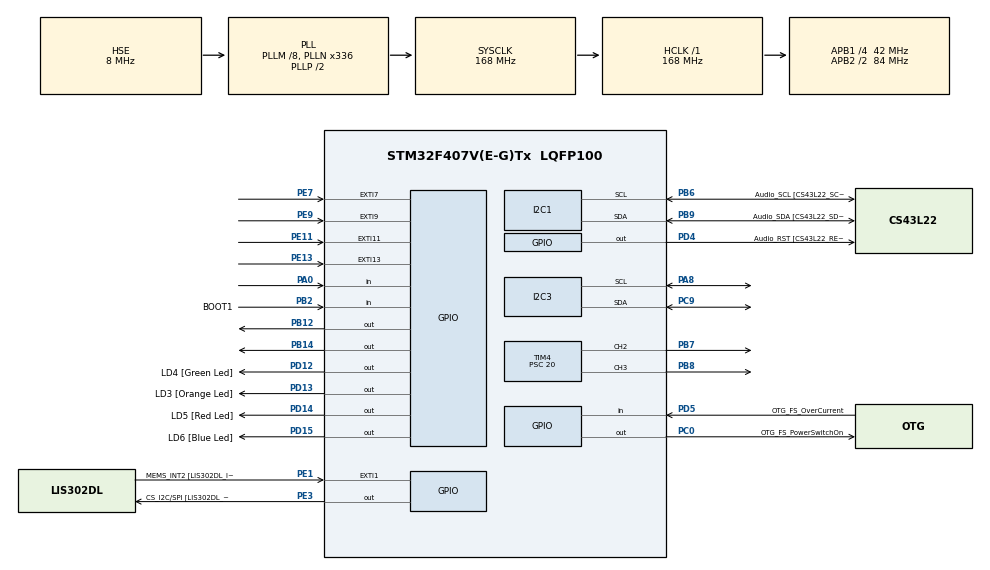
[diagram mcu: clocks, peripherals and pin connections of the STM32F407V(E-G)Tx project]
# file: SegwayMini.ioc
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Dma.I2C1_RX.0.Channel=DMA_CHANNEL_1
Dma.I2C1_RX.0.Direction=DMA_PERIPH_TO_MEMORY
Dma.I2C1_RX.0.FIFOMode=DMA_FIFOMODE_DISABLE
Dma.I2C1_RX.0.Instance=DMA1_Stream0
Dma.I2C1_RX.0.MemDataAlignment=DMA_MDATAALIGN_BYTE
Dma.I2C1_RX.0.MemInc=DMA_MINC_ENABLE
Dma.I2C1_RX.0.Mode=DMA_NORMAL
Dma.I2C1_RX.0.PeriphDataAlignment=DMA_PDATAALIGN_BYTE
Dma.I2C1_RX.0.PeriphInc=DMA_PINC_DISABLE
Dma.I2C1_RX.0.Priority=DMA_PRIORITY_LOW
Dma.I2C1_TX.1.Channel=DMA_CHANNEL_1
Dma.I2C1_TX.1.Direction=DMA_MEMORY_TO_PERIPH
Dma.I2C1_TX.1.FIFOMode=DMA_FIFOMODE_DISABLE
Dma.I2C1_TX.1.Instance=DMA1_Stream6
Dma.I2C1_TX.1.MemDataAlignment=DMA_MDATAALIGN_BYTE
Dma.I2C1_TX.1.MemInc=DMA_MINC_ENABLE
Dma.I2C1_TX.1.Mode=DMA_NORMAL
Dma.I2C1_TX.1.PeriphDataAlignment=DMA_PDATAALIGN_BYTE
Dma.I2C1_TX.1.PeriphInc=DMA_PINC_DISABLE
Dma.I2C1_TX.1.Priority=DMA_PRIORITY_LOW
Dma.Request0=I2C1_RX
Dma.Request1=I2C1_TX
FREERTOS.Tasks01=defaultTask,0,128,StartDefaultTask;control,2,512,controlTask;sensorFilter,-3,512,sensorFilterTask
I2C1.I2C_Mode=I2C_Fast
Mcu.Family=STM32F4
Mcu.Name=STM32F407V(E-G)Tx
Mcu.Package=LQFP100
NVIC.DMA1_Stream0_IRQn=true\:5\:0\:false
NVIC.DMA1_Stream6_IRQn=true\:5\:0\:false
NVIC.EXTI15_10_IRQn=true\:5\:0\:false
NVIC.EXTI9_5_IRQn=true\:5\:0\:false
NVIC.PriorityGroup=NVIC_PRIORITYGROUP_4
NVIC.TIM4_IRQn=true\:5\:0\:false
PA0-WKUP.Signal=GPIO_Input
PA10.GPIO_Label=OTG_FS_ID
PA10.GPIO_Mode=GPIO_MODE_AF_PP
PA10.GPIO_PuPd=GPIO_NOPULL
PA10.GPIO_Speed=GPIO_SPEED_LOW
PA10.Signal=USB_OTG_FS_ID
PA11.GPIO_Label=OTG_FS_DM
PA11.GPIO_Mode=GPIO_MODE_AF_PP
PA11.GPIO_PuPd=GPIO_NOPULL
PA11.GPIO_Speed=GPIO_SPEED_LOW
PA11.Signal=USB_OTG_FS_DM
PA12.GPIO_Label=OTG_FS_DP
PA12.GPIO_Mode=GPIO_MODE_AF_PP
PA12.GPIO_PuPd=GPIO_NOPULL
PA12.GPIO_Speed=GPIO_SPEED_LOW
PA12.Signal=USB_OTG_FS_DP
PA13.GPIO_Label=SWDIO
PA13.Mode=Trace-Asynchronous_SW
PA13.Signal=SYS_JTMS-SWDIO
PA14.GPIO_Label=SWCLK
PA14.Mode=Trace-Asynchronous_SW
PA14.Signal=SYS_JTCK-SWCLK
PA4.GPIO_Label=I2S3_WS [CS43L22_LRCK]
PA4.GPIO_Mode=GPIO_MODE_AF_PP
PA4.GPIO_PuPd=GPIO_NOPULL
PA4.GPIO_Speed=GPIO_SPEED_LOW
PA4.Signal=I2S3_WS
PA5.GPIO_Label=SPI1_SCK [LIS302DL_SCL/SPC]
PA5.GPIO_Mode=GPIO_MODE_AF_PP
PA5.GPIO_PuPd=GPIO_NOPULL
PA5.GPIO_Speed=GPIO_SPEED_LOW
PA5.Signal=SPI1_SCK
PA6.GPIO_Label=SPI1_MISO [LIS302DL_SDO]
PA6.GPIO_Mode=GPIO_MODE_AF_PP
PA6.GPIO_PuPd=GPIO_NOPULL
PA6.GPIO_Speed=GPIO_SPEED_LOW
PA6.Signal=SPI1_MISO
PA7.GPIO_Label=SPI1_MOSI [LIS302DL_SDA/SDI/SDO]
PA7.GPIO_Mode=GPIO_MODE_AF_PP
PA7.GPIO_PuPd=GPIO_NOPULL
PA7.GPIO_Speed=GPIO_SPEED_LOW
PA7.Signal=SPI1_MOSI
PA8.Mode=I2C
PA8.Signal=I2C3_SCL
PA9.GPIO_Label=VBUS_FS
PA9.GPIO_Mode=GPIO_MODE_INPUT
PA9.GPIO_PuPd=GPIO_NOPULL
PA9.Signal=USB_OTG_FS_VBUS
PB10.GPIO_Label=CLK_IN [MP45DT02_CLK]
PB10.GPIO_Mode=GPIO_MODE_AF_PP
PB10.GPIO_PuPd=GPIO_NOPULL
PB10.GPIO_Speed=GPIO_SPEED_LOW
PB10.Signal=I2S2_CK
PB12.Signal=GPIO_Output
PB14.Signal=GPIO_Output
PB2.GPIO_Label=BOOT1
PB2.GPIO_Mode=GPIO_MODE_INPUT
PB2.GPIO_PuPd=GPIO_NOPULL
PB2.Signal=GPIO_Input
PB3.GPIO_Label=SWO
PB3.Mode=Trace-Asynchronous_SW
PB3.Signal=SYS_JTDO-SWO
PB6.GPIO_Label=Audio_SCL [CS43L22_SCL]
PB6.GPIO_Mode=GPIO_MODE_AF_OD
PB6.GPIO_PuPd=GPIO_NOPULL
PB6.GPIO_Speed=GPIO_SPEED_LOW
PB6.Mode=I2C
PB6.Signal=I2C1_SCL
PB7.Signal=S_TIM4_CH2
PB8.Signal=S_TIM4_CH3
PB9.GPIO_Label=Audio_SDA [CS43L22_SDA]
PB9.GPIO_Mode=GPIO_MODE_AF_OD
PB9.GPIO_PuPd=GPIO_NOPULL
PB9.GPIO_Speed=GPIO_SPEED_LOW
PB9.Mode=I2C
PB9.Signal=I2C1_SDA
PC0.GPIO_Label=OTG_FS_PowerSwitchOn
PC0.GPIO_PuPd=GPIO_NOPULL
PC0.GPIO_Speed=GPIO_SPEED_LOW
PC0.Signal=GPIO_Output
PC10.GPIO_Label=I2S3_SCK [CS43L22_SCLK]
PC10.GPIO_Mode=GPIO_MODE_AF_PP
PC10.GPIO_PuPd=GPIO_NOPULL
PC10.GPIO_Speed=GPIO_SPEED_LOW
PC10.Signal=I2S3_CK
PC12.GPIO_Label=I2S3_SD [CS43L22_SDIN]
PC12.GPIO_Mode=GPIO_MODE_AF_PP
PC12.GPIO_PuPd=GPIO_NOPULL
PC12.GPIO_Speed=GPIO_SPEED_LOW
PC12.Signal=I2S3_SD
PC14-OSC32_IN.GPIO_Label=PC14-OSC32_IN
PC14-OSC32_IN.Signal=RCC_OSC32_IN
PC15-OSC32_OUT.GPIO_Label=PC15-OSC32_OUT
PC15-OSC32_OUT.Signal=RCC_OSC32_OUT
PC3.GPIO_Label=PDM_OUT [MP45DT02_DOUT]
PC3.GPIO_Mode=GPIO_MODE_AF_PP
PC3.GPIO_PuPd=GPIO_NOPULL
PC3.GPIO_Speed=GPIO_SPEED_LOW
PC3.Signal=I2S2_SD
PC7.GPIO_Label=I2S3_MCK [CS43L22_MCLK]
PC7.GPIO_Mode=GPIO_MODE_AF_PP
PC7.GPIO_PuPd=GPIO_NOPULL
PC7.GPIO_Speed=GPIO_SPEED_LOW
PC7.Signal=I2S3_MCK
PC9.Mode=I2C
PC9.Signal=I2C3_SDA
PD12.GPIO_Label=LD4 [Green Led]
PD12.GPIO_PuPd=GPIO_NOPULL
PD12.GPIO_Speed=GPIO_SPEED_LOW
PD12.Signal=GPIO_Output
PD13.GPIO_Label=LD3 [Orange Led]
PD13.GPIO_PuPd=GPIO_NOPULL
PD13.GPIO_Speed=GPIO_SPEED_LOW
PD13.Signal=GPIO_Output
PD14.GPIO_Label=LD5 [Red Led]
PD14.GPIO_PuPd=GPIO_NOPULL
PD14.GPIO_Speed=GPIO_SPEED_LOW
PD14.Signal=GPIO_Output
PD15.GPIO_Label=LD6 [Blue Led]
PD15.GPIO_PuPd=GPIO_NOPULL
PD15.GPIO_Speed=GPIO_SPEED_LOW
PD15.Signal=GPIO_Output
PD4.GPIO_Label=Audio_RST [CS43L22_RESET]
PD4.GPIO_PuPd=GPIO_NOPULL
PD4.GPIO_Speed=GPIO_SPEED_LOW
PD4.Signal=GPIO_Output
PD5.GPIO_Label=OTG_FS_OverCurrent
PD5.GPIO_Mode=GPIO_MODE_INPUT
PD5.GPIO_PuPd=GPIO_NOPULL
PD5.Signal=GPIO_Input
PE1.GPIO_Label=MEMS_INT2 [LIS302DL_INT2]
PE1.GPIO_ModeDefaultEXTI=GPIO_MODE_EVT_RISING
PE1.GPIO_PuPd=GPIO_NOPULL
PE1.Signal=GPXTI1
PE11.GPIO_ModeDefaultEXTI=GPIO_MODE_IT_RISING_FALLING
PE11.GPIO_PuPd=GPIO_NOPULL
PE11.Signal=GPXTI11
PE13.GPIO_ModeDefaultEXTI=GPIO_MODE_IT_RISING_FALLING
PE13.GPIO_PuPd=GPIO_NOPULL
PE13.Signal=GPXTI13
PE3.GPIO_Label=CS_I2C/SPI [LIS302DL_CS_I2C/SPI]
PE3.GPIO_PuPd=GPIO_NOPULL
PE3.GPIO_Speed=GPIO_SPEED_LOW
PE3.Signal=GPIO_Output
PE7.GPIO_ModeDefaultEXTI=GPIO_MODE_IT_RISING_FALLING
PE7.GPIO_PuPd=GPIO_NOPULL
PE7.Signal=GPXTI7
PE9.GPIO_ModeDefaultEXTI=GPIO_MODE_IT_RISING_FALLING
PE9.GPIO_PuPd=GPIO_NOPULL
PE9.Signal=GPXTI9
PH0-OSC_IN.GPIO_Label=PH0-OSC_IN
PH0-OSC_IN.Mode=HSE-External-Oscillator
PH0-OSC_IN.Signal=RCC_OSC_IN
PH1-OSC_OUT.GPIO_Label=PH1-OSC_OUT
PH1-OSC_OUT.Mode=HSE-External-Oscillator
PH1-OSC_OUT.Signal=RCC_OSC_OUT
ProjectManager.TargetToolchain=EWARM
RCC.AHBFreq_Value=168000000
RCC.APB1CLKDivider=RCC_HCLK_DIV4
RCC.APB1Freq_Value=42000000
RCC.APB1TimFreq_Value=84000000
RCC.APB2CLKDivider=RCC_HCLK_DIV2
RCC.APB2Freq_Value=84000000
RCC.APB2TimFreq_Value=168000000
RCC.CortexFreq_Value=168000000
RCC.HCLKFreq_Value=168000000
RCC.HSE_VALUE=8000000
RCC.HSI_VALUE=16000000
RCC.LSE_VALUE=32768
RCC.PLLM=8
RCC.PLLN=336
RCC.PLLQ=7
RCC.PLLSourceVirtual=RCC_PLLSOURCE_HSE
RCC.SYSCLKFreq_VALUE=168000000
RCC.SYSCLKSource=RCC_SYSCLKSOURCE_PLLCLK
RCC.VCOOutputFreq_Value=336000000
SH.S_TIM4_CH2.0=TIM4_CH2,PWM Generation2 CH2
SH.S_TIM4_CH3.0=TIM4_CH3,PWM Generation3 CH3
TIM4.Channel-PWM\ Generation2\ CH2=TIM_CHANNEL_2
TIM4.Channel-PWM\ Generation3\ CH3=TIM_CHANNEL_3
TIM4.Period=399
TIM4.Prescaler=20
VP_FREERTOS_VS_ENABLE.Mode=Enabled
VP_TIM4_VS_ClockSourceINT.Mode=Internal
board=STM32F4DISCOVERY

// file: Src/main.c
/**
  ******************************************************************************
  * File Name          : main.c
  * Description        : Main program body
  ******************************************************************************
  *
  * COPYRIGHT(c) 2016 STMicroelectronics
  *
  * Redistribution and use in source and binary forms, with or without modification,
  * are permitted provided that the following conditions are met:
  *   1. Redistributions of source code must retain the above copyright notice,
  *      this list of conditions and the following disclaimer.
  *   2. Redistributions in binary form must reproduce the above copyright notice,
  *      this list of conditions and the following disclaimer in the documentation
  *      and/or other materials provided with the distribution.
  *   3. Neither the name of STMicroelectronics nor the names of its contributors
  *      may be used to endorse or promote products derived from this software
  *      without specific prior written permission.
  *
  * THIS SOFTWARE IS PROVIDED BY THE COPYRIGHT HOLDERS AND CONTRIBUTORS "AS IS"
  * AND ANY EXPRESS OR IMPLIED WARRANTIES, INCLUDING, BUT NOT LIMITED TO, THE
  * IMPLIED WARRANTIES OF MERCHANTABILITY AND FITNESS FOR A PARTICULAR PURPOSE ARE
  * DISCLAIMED. IN NO EVENT SHALL THE COPYRIGHT HOLDER OR CONTRIBUTORS BE LIABLE
  * FOR ANY DIRECT, INDIRECT, INCIDENTAL, SPECIAL, EXEMPLARY, OR CONSEQUENTIAL
  * DAMAGES (INCLUDING, BUT NOT LIMITED TO, PROCUREMENT OF SUBSTITUTE GOODS OR
  * SERVICES; LOSS OF USE, DATA, OR PROFITS; OR BUSINESS INTERRUPTION) HOWEVER
  * CAUSED AND ON ANY THEORY OF LIABILITY, WHETHER IN CONTRACT, STRICT LIABILITY,
  * OR TORT (INCLUDING NEGLIGENCE OR OTHERWISE) ARISING IN ANY WAY OUT OF THE USE
  * OF THIS SOFTWARE, EVEN IF ADVISED OF THE POSSIBILITY OF SUCH DAMAGE.
  *
  ******************************************************************************
  */
#include "stm32f4xx_hal.h"
#include "cmsis_os.h"

/* USER CODE BEGIN Includes */
#include "MadgwickAHRS.h"
#include "variable.h"
#include "encoder.h"
#include "motor.h"
#include "segway.h"
/* USER CODE END Includes */

I2C_HandleTypeDef hi2c1;
I2C_HandleTypeDef hi2c3;
DMA_HandleTypeDef hdma_i2c1_rx;
DMA_HandleTypeDef hdma_i2c1_tx;

TIM_HandleTypeDef htim4;

osThreadId defaultTaskHandle;
osThreadId controlHandle;
osThreadId sensorFilterHandle;

/* USER CODE BEGIN PV */
/* Private variables ---------------------------------------------------------*/

/* USER CODE END PV */

void SystemClock_Config(void);
static void MX_GPIO_Init(void);
static void MX_DMA_Init(void);
static void MX_I2C1_Init(void);
static void MX_I2C3_Init(void);
static void MX_TIM4_Init(void);
void StartDefaultTask(void const * argument);
void controlTask(void const * argument);
void sensorFilterTask(void const * argument);

/* USER CODE BEGIN PFP */
/* Private function prototypes -----------------------------------------------*/

/* USER CODE END PFP */

int main(void)
{

  /* MCU Configuration----------------------------------------------------------*/

  /* Reset of all peripherals, Initializes the Flash interface and the Systick. */
  HAL_Init();

  /* Configure the system clock */
  SystemClock_Config();

  /* Initialize all configured peripherals */
  MX_GPIO_Init();
  MX_DMA_Init();
  MX_I2C1_Init();
  MX_I2C3_Init();
  MX_TIM4_Init();

  /* USER CODE BEGIN 2 */
  motor_Init(&motor_right, &htim4, TIM_CHANNEL_2, GPIOB, GPIOB, GPIO_PIN_12, GPIO_PIN_13, MOTOR_DIRECTION_CW, MOTOR_EN_LOW_ACTIVE, 399);
  motor_Init(&motor_left, &htim4, TIM_CHANNEL_3, GPIOB, GPIOB, GPIO_PIN_14, GPIO_PIN_15, MOTOR_DIRECTION_CCW, MOTOR_EN_LOW_ACTIVE, 399);
  encoder_Init(&encoder_right,GPIOE, GPIOE, GPIO_PIN_7 ,GPIO_PIN_9 , 1404, ENCODER_DIRECTION_CW );
  encoder_Init(&encoder_left ,GPIOE, GPIOE, GPIO_PIN_11,GPIO_PIN_13, 1404, ENCODER_DIRECTION_CCW);

  //segway_Init(&segway, &encoder_right, &encoder_left, &motor_right, &motor_left, &roll, &pitch, &yaw, 1000.0f, 0.2f, 0.5f, 220.0f, 5.0f, 10.0f, 0.01f, 0.0f, 0.0f);
  segway_Init(&segway, &encoder_right, &encoder_left, &motor_right, &motor_left, &roll, &pitch, &yaw,
  1000.0f, //control Freq
  0.2f, 0.5f, //motor P, I
  500.0f, 100.0f, 5.0f, // roll P I D
  10.0f, 0.01f, //wheel P D
  0.0f, 0.0f // yaw P D
  );

  /* USER CODE END 2 */

  /* Create the thread(s) */
  /* definition and creation of defaultTask */
  osThreadDef(defaultTask, StartDefaultTask, osPriorityNormal, 0, 128);
  defaultTaskHandle = osThreadCreate(osThread(defaultTask), NULL);

  /* definition and creation of control */
  osThreadDef(control, controlTask, osPriorityHigh, 0, 512);
  controlHandle = osThreadCreate(osThread(control), NULL);

  /* definition and creation of sensorFilter */
  osThreadDef(sensorFilter, sensorFilterTask, osPriorityIdle, 0, 512);
  sensorFilterHandle = osThreadCreate(osThread(sensorFilter), NULL);

  /* Start scheduler */
  osKernelStart();

  /* We should never get here as control is now taken by the scheduler */

  /* Infinite loop */
  while (1)
  {

  }

}

/** System Clock Configuration
*/
void SystemClock_Config(void)
{

  RCC_OscInitTypeDef RCC_OscInitStruct;
  RCC_ClkInitTypeDef RCC_ClkInitStruct;

  __PWR_CLK_ENABLE();

  __HAL_PWR_VOLTAGESCALING_CONFIG(PWR_REGULATOR_VOLTAGE_SCALE1);

  RCC_OscInitStruct.OscillatorType = RCC_OSCILLATORTYPE_HSE;
  RCC_OscInitStruct.HSEState = RCC_HSE_ON;
  RCC_OscInitStruct.PLL.PLLState = RCC_PLL_ON;
  RCC_OscInitStruct.PLL.PLLSource = RCC_PLLSOURCE_HSE;
  RCC_OscInitStruct.PLL.PLLM = 8;
  RCC_OscInitStruct.PLL.PLLN = 336;
  RCC_OscInitStruct.PLL.PLLP = RCC_PLLP_DIV2;
  RCC_OscInitStruct.PLL.PLLQ = 7;
  HAL_RCC_OscConfig(&RCC_OscInitStruct);

  RCC_ClkInitStruct.ClockType = RCC_CLOCKTYPE_SYSCLK|RCC_CLOCKTYPE_PCLK1
                              |RCC_CLOCKTYPE_PCLK2;
  RCC_ClkInitStruct.SYSCLKSource = RCC_SYSCLKSOURCE_PLLCLK;
  RCC_ClkInitStruct.AHBCLKDivider = RCC_SYSCLK_DIV1;
  RCC_ClkInitStruct.APB1CLKDivider = RCC_HCLK_DIV4;
  RCC_ClkInitStruct.APB2CLKDivider = RCC_HCLK_DIV2;
  HAL_RCC_ClockConfig(&RCC_ClkInitStruct, FLASH_LATENCY_5);

  HAL_SYSTICK_Config(HAL_RCC_GetHCLKFreq()/1000);

  HAL_SYSTICK_CLKSourceConfig(SYSTICK_CLKSOURCE_HCLK);

  /* SysTick_IRQn interrupt configuration */
  HAL_NVIC_SetPriority(SysTick_IRQn, 15, 0);
}

/* I2C1 init function */
void MX_I2C1_Init(void)
{

  hi2c1.Instance = I2C1;
  hi2c1.Init.ClockSpeed = 400000;
  hi2c1.Init.DutyCycle = I2C_DUTYCYCLE_2;
  hi2c1.Init.OwnAddress1 = 0;
  hi2c1.Init.AddressingMode = I2C_ADDRESSINGMODE_7BIT;
  hi2c1.Init.DualAddressMode = I2C_DUALADDRESS_DISABLED;
  hi2c1.Init.OwnAddress2 = 0;
  hi2c1.Init.GeneralCallMode = I2C_GENERALCALL_DISABLED;
  hi2c1.Init.NoStretchMode = I2C_NOSTRETCH_DISABLED;
  HAL_I2C_Init(&hi2c1);

}

/* I2C3 init function */
void MX_I2C3_Init(void)
{

  hi2c3.Instance = I2C3;
  hi2c3.Init.ClockSpeed = 100000;
  hi2c3.Init.DutyCycle = I2C_DUTYCYCLE_2;
  hi2c3.Init.OwnAddress1 = 0;
  hi2c3.Init.AddressingMode = I2C_ADDRESSINGMODE_7BIT;
  hi2c3.Init.DualAddressMode = I2C_DUALADDRESS_DISABLED;
  hi2c3.Init.OwnAddress2 = 0;
  hi2c3.Init.GeneralCallMode = I2C_GENERALCALL_DISABLED;
  hi2c3.Init.NoStretchMode = I2C_NOSTRETCH_DISABLED;
  HAL_I2C_Init(&hi2c3);

}

/* TIM4 init function */
void MX_TIM4_Init(void)
{

  TIM_ClockConfigTypeDef sClockSourceConfig;
  TIM_MasterConfigTypeDef sMasterConfig;
  TIM_OC_InitTypeDef sConfigOC;

  htim4.Instance = TIM4;
  htim4.Init.Prescaler = 20;
  htim4.Init.CounterMode = TIM_COUNTERMODE_UP;
  htim4.Init.Period = 399;
  htim4.Init.ClockDivision = TIM_CLOCKDIVISION_DIV1;
  HAL_TIM_Base_Init(&htim4);

  sClockSourceConfig.ClockSource = TIM_CLOCKSOURCE_INTERNAL;
  HAL_TIM_ConfigClockSource(&htim4, &sClockSourceConfig);

  HAL_TIM_PWM_Init(&htim4);

  sMasterConfig.MasterOutputTrigger = TIM_TRGO_RESET;
  sMasterConfig.MasterSlaveMode = TIM_MASTERSLAVEMODE_DISABLE;
  HAL_TIMEx_MasterConfigSynchronization(&htim4, &sMasterConfig);

  sConfigOC.OCMode = TIM_OCMODE_PWM1;
  sConfigOC.Pulse = 0;
  sConfigOC.OCPolarity = TIM_OCPOLARITY_HIGH;
  sConfigOC.OCFastMode = TIM_OCFAST_DISABLE;
  HAL_TIM_PWM_ConfigChannel(&htim4, &sConfigOC, TIM_CHANNEL_2);

  HAL_TIM_PWM_ConfigChannel(&htim4, &sConfigOC, TIM_CHANNEL_3);

}

void MX_DMA_Init(void)
{
  /* DMA controller clock enable */
  __DMA1_CLK_ENABLE();

  /* DMA interrupt init */
  HAL_NVIC_SetPriority(DMA1_Stream0_IRQn, 5, 0);
  HAL_NVIC_EnableIRQ(DMA1_Stream0_IRQn);
  HAL_NVIC_SetPriority(DMA1_Stream6_IRQn, 5, 0);
  HAL_NVIC_EnableIRQ(DMA1_Stream6_IRQn);

}

/** Configure pins as
        * Analog
        * Input
        * Output
        * EVENT_OUT
        * EXTI
     PC3   ------> I2S2_SD
     PA4   ------> I2S3_WS
     PA5   ------> SPI1_SCK
     PA6   ------> SPI1_MISO
     PA7   ------> SPI1_MOSI
     PB10   ------> I2S2_CK
     PC7   ------> I2S3_MCK
     PA9   ------> USB_OTG_FS_VBUS
     PA10   ------> USB_OTG_FS_ID
     PA11   ------> USB_OTG_FS_DM
     PA12   ------> USB_OTG_FS_DP
     PC10   ------> I2S3_CK
     PC12   ------> I2S3_SD
*/
void MX_GPIO_Init(void)
{

  GPIO_InitTypeDef GPIO_InitStruct;

  /* GPIO Ports Clock Enable */
  __GPIOE_CLK_ENABLE();
  __GPIOC_CLK_ENABLE();
  __GPIOH_CLK_ENABLE();
  __GPIOA_CLK_ENABLE();
  __GPIOB_CLK_ENABLE();
  __GPIOD_CLK_ENABLE();

  /*Configure GPIO pin : CS_I2C_SPI_Pin */
  GPIO_InitStruct.Pin = CS_I2C_SPI_Pin;
  GPIO_InitStruct.Mode = GPIO_MODE_OUTPUT_PP;
  GPIO_InitStruct.Pull = GPIO_NOPULL;
  GPIO_InitStruct.Speed = GPIO_SPEED_LOW;
  HAL_GPIO_Init(CS_I2C_SPI_GPIO_Port, &GPIO_InitStruct);

  /*Configure GPIO pin : OTG_FS_PowerSwitchOn_Pin */
  GPIO_InitStruct.Pin = OTG_FS_PowerSwitchOn_Pin;
  GPIO_InitStruct.Mode = GPIO_MODE_OUTPUT_PP;
  GPIO_InitStruct.Pull = GPIO_NOPULL;
  GPIO_InitStruct.Speed = GPIO_SPEED_LOW;
  HAL_GPIO_Init(OTG_FS_PowerSwitchOn_GPIO_Port, &GPIO_InitStruct);

  /*Configure GPIO pin : PDM_OUT_Pin */
  GPIO_InitStruct.Pin = PDM_OUT_Pin;
  GPIO_InitStruct.Mode = GPIO_MODE_AF_PP;
  GPIO_InitStruct.Pull = GPIO_NOPULL;
  GPIO_InitStruct.Speed = GPIO_SPEED_LOW;
  GPIO_InitStruct.Alternate = GPIO_AF5_SPI2;
  HAL_GPIO_Init(PDM_OUT_GPIO_Port, &GPIO_InitStruct);

  /*Configure GPIO pin : PA0 */
  GPIO_InitStruct.Pin = GPIO_PIN_0;
  GPIO_InitStruct.Mode = GPIO_MODE_INPUT;
  GPIO_InitStruct.Pull = GPIO_NOPULL;
  HAL_GPIO_Init(GPIOA, &GPIO_InitStruct);

  /*Configure GPIO pin : PA4 */
  GPIO_InitStruct.Pin = GPIO_PIN_4;
  GPIO_InitStruct.Mode = GPIO_MODE_AF_PP;
  GPIO_InitStruct.Pull = GPIO_NOPULL;
  GPIO_InitStruct.Speed = GPIO_SPEED_LOW;
  GPIO_InitStruct.Alternate = GPIO_AF6_SPI3;
  HAL_GPIO_Init(GPIOA, &GPIO_InitStruct);

  /*Configure GPIO pins : PA5 PA6 PA7 */
  GPIO_InitStruct.Pin = GPIO_PIN_5|GPIO_PIN_6|GPIO_PIN_7;
  GPIO_InitStruct.Mode = GPIO_MODE_AF_PP;
  GPIO_InitStruct.Pull = GPIO_NOPULL;
  GPIO_InitStruct.Speed = GPIO_SPEED_LOW;
  GPIO_InitStruct.Alternate = GPIO_AF5_SPI1;
  HAL_GPIO_Init(GPIOA, &GPIO_InitStruct);

  /*Configure GPIO pin : BOOT1_Pin */
  GPIO_InitStruct.Pin = BOOT1_Pin;
  GPIO_InitStruct.Mode = GPIO_MODE_INPUT;
  GPIO_InitStruct.Pull = GPIO_NOPULL;
  HAL_GPIO_Init(BOOT1_GPIO_Port, &GPIO_InitStruct);

  /*Configure GPIO pins : PE7 PE9 PE11 PE13 */
  GPIO_InitStruct.Pin = GPIO_PIN_7|GPIO_PIN_9|GPIO_PIN_11|GPIO_PIN_13;
  GPIO_InitStruct.Mode = GPIO_MODE_IT_RISING_FALLING;
  GPIO_InitStruct.Pull = GPIO_NOPULL;
  HAL_GPIO_Init(GPIOE, &GPIO_InitStruct);

  /*Configure GPIO pin : CLK_IN_Pin */
  GPIO_InitStruct.Pin = CLK_IN_Pin;
  GPIO_InitStruct.Mode = GPIO_MODE_AF_PP;
  GPIO_InitStruct.Pull = GPIO_NOPULL;
  GPIO_InitStruct.Speed = GPIO_SPEED_LOW;
  GPIO_InitStruct.Alternate = GPIO_AF5_SPI2;
  HAL_GPIO_Init(CLK_IN_GPIO_Port, &GPIO_InitStruct);

  /*Configure GPIO pins : PB12 PB14 */
  GPIO_InitStruct.Pin = GPIO_PIN_12|GPIO_PIN_14;
  GPIO_InitStruct.Mode = GPIO_MODE_OUTPUT_PP;
  GPIO_InitStruct.Pull = GPIO_NOPULL;
  GPIO_InitStruct.Speed = GPIO_SPEED_LOW;
  HAL_GPIO_Init(GPIOB, &GPIO_InitStruct);

  /*Configure GPIO pins : LD4_Pin LD3_Pin LD5_Pin LD6_Pin
                           Audio_RST_Pin */
  GPIO_InitStruct.Pin = LD4_Pin|LD3_Pin|LD5_Pin|LD6_Pin
                          |Audio_RST_Pin;
  GPIO_InitStruct.Mode = GPIO_MODE_OUTPUT_PP;
  GPIO_InitStruct.Pull = GPIO_NOPULL;
  GPIO_InitStruct.Speed = GPIO_SPEED_LOW;
  HAL_GPIO_Init(GPIOD, &GPIO_InitStruct);

  /*Configure GPIO pins : PC7 I2S3_SCK_Pin PC12 */
  GPIO_InitStruct.Pin = GPIO_PIN_7|I2S3_SCK_Pin|GPIO_PIN_12;
  GPIO_InitStruct.Mode = GPIO_MODE_AF_PP;
  GPIO_InitStruct.Pull = GPIO_NOPULL;
  GPIO_InitStruct.Speed = GPIO_SPEED_LOW;
  GPIO_InitStruct.Alternate = GPIO_AF6_SPI3;
  HAL_GPIO_Init(GPIOC, &GPIO_InitStruct);

  /*Configure GPIO pin : VBUS_FS_Pin */
  GPIO_InitStruct.Pin = VBUS_FS_Pin;
  GPIO_InitStruct.Mode = GPIO_MODE_INPUT;
  GPIO_InitStruct.Pull = GPIO_NOPULL;
  HAL_GPIO_Init(VBUS_FS_GPIO_Port, &GPIO_InitStruct);

  /*Configure GPIO pins : OTG_FS_ID_Pin OTG_FS_DM_Pin OTG_FS_DP_Pin */
  GPIO_InitStruct.Pin = OTG_FS_ID_Pin|OTG_FS_DM_Pin|OTG_FS_DP_Pin;
  GPIO_InitStruct.Mode = GPIO_MODE_AF_PP;
  GPIO_InitStruct.Pull = GPIO_NOPULL;
  GPIO_InitStruct.Speed = GPIO_SPEED_LOW;
  GPIO_InitStruct.Alternate = GPIO_AF10_OTG_FS;
  HAL_GPIO_Init(GPIOA, &GPIO_InitStruct);

  /*Configure GPIO pin : OTG_FS_OverCurrent_Pin */
  GPIO_InitStruct.Pin = OTG_FS_OverCurrent_Pin;
  GPIO_InitStruct.Mode = GPIO_MODE_INPUT;
  GPIO_InitStruct.Pull = GPIO_NOPULL;
  HAL_GPIO_Init(OTG_FS_OverCurrent_GPIO_Port, &GPIO_InitStruct);

  /*Configure GPIO pin : MEMS_INT2_Pin */
  GPIO_InitStruct.Pin = MEMS_INT2_Pin;
  GPIO_InitStruct.Mode = GPIO_MODE_EVT_RISING;
  GPIO_InitStruct.Pull = GPIO_NOPULL;
  HAL_GPIO_Init(MEMS_INT2_GPIO_Port, &GPIO_InitStruct);

  /* EXTI interrupt init*/
  HAL_NVIC_SetPriority(EXTI9_5_IRQn, 5, 0);
  HAL_NVIC_EnableIRQ(EXTI9_5_IRQn);

  HAL_NVIC_SetPriority(EXTI15_10_IRQn, 5, 0);
  HAL_NVIC_EnableIRQ(EXTI15_10_IRQn);

}

/* StartDefaultTask function */
void StartDefaultTask(void const * argument)
{

  for(;;)
  {
    osDelay(1);
  }
}

/* controlTask function */
void controlTask(void const * argument)
{
  /* USER CODE BEGIN controlTask */

  motor_Enable(&motor_right);
  motor_Enable(&motor_left);
  /* Infinite loop */
  for(;;)
  {
    if( HAL_GPIO_ReadPin(GPIOA, GPIO_PIN_0)){
      flag_run = 1;
    }
	if(flag_run == 1 ){
		segway_ControlSegway(&segway);
	}
	else{
		motor_SetDuty(&motor_right, 0.0f);
		motor_SetDuty(&motor_left,  0.0f);
	}
    osDelay(1);
  }
  /* USER CODE END controlTask */
}

/* sensorFilterTask function */
void sensorFilterTask(void const * argument)
{
  /* USER CODE BEGIN sensorFilterTask */
  int i;
  int sample = 0;
  uint8_t MPU6050_WKUP = 0x00;
  HAL_I2C_Mem_Write_DMA(&hi2c1,(0x68<<1), 0x6B, I2C_MEMADD_SIZE_8BIT, &MPU6050_WKUP, 1);
  HAL_I2C_Mem_Read_DMA(&hi2c1, (0x68<<1), 0x3F, I2C_MEMADD_SIZE_8BIT, mpu6050_buffer, 14);
  osDelay(100);
  /* Initializing sequence begin*/
  while(sample < 100){
	for(i=0; i < 7; i++){
		mpu6050_sense[i] = (int16_t)((mpu6050_buffer[2*i]<<8) | mpu6050_buffer[2*i+1] );
	}
	ax = mpu6050_sense[0] * accel_scale;
	ay = mpu6050_sense[1] * accel_scale;
	az = mpu6050_sense[2] * accel_scale;
	gx = mpu6050_sense[4] * gyro_scale;
	gy = mpu6050_sense[5] * gyro_scale;
	gz = mpu6050_sense[6] * gyro_scale;

	gx_offset += gx;
	gy_offset += gy;
	gz_offset += gz;

	sample++;
    HAL_I2C_Mem_Read_DMA(&hi2c1, (0x68<<1), 0x3B, I2C_MEMADD_SIZE_8BIT, mpu6050_buffer, 14);
    osDelay(1);
  }
  gx_offset /= ((float)sample);
  gy_offset /= ((float)sample);
  gz_offset /= ((float)sample);
  /* Initializing sequence end*/

  /* Infinite loop */
  for(;;)
  {
  	for(i=0; i < 7; i++){
		mpu6050_sense[i] = (int16_t)((mpu6050_buffer[2*i]<<8) | mpu6050_buffer[2*i+1] );
	}
	ax = mpu6050_sense[0] * accel_scale;
	ay = mpu6050_sense[1] * accel_scale;
	az = mpu6050_sense[2] * accel_scale;
	gx = mpu6050_sense[4] * gyro_scale - gx_offset;
	gy = mpu6050_sense[5] * gyro_scale - gy_offset;
	gz = mpu6050_sense[6] * gyro_scale - gz_offset;
	MadgwickAHRSupdateIMU(gx, gy, gz, ax, ay, az);

	roll = atan2( 2*(q0 * q1 + q2 * q3), 1-2*(q1*q1 + q2*q2 ));
	pitch = asin( 2*(q0 * q2 - q3 * q1) );
	yaw = atan2( 2*(q0 * q3 + q1 * q2), 1-2*(q2*q2 + q3*q3 ));

        roll_deg = (int)(180.0f/PI)*roll;
        pitch_deg = (int)(180.0f/PI)*pitch;
        yaw_deg = (int)(180.0f/PI)*yaw;

    HAL_I2C_Mem_Read_DMA(&hi2c1, (0x68<<1), 0x3B, I2C_MEMADD_SIZE_8BIT, mpu6050_buffer, 14);
    osDelay(1);
  }
  /* USER CODE END sensorFilterTask */
}

/************************ (C) COPYRIGHT STMicroelectronics *****END OF FILE****/
